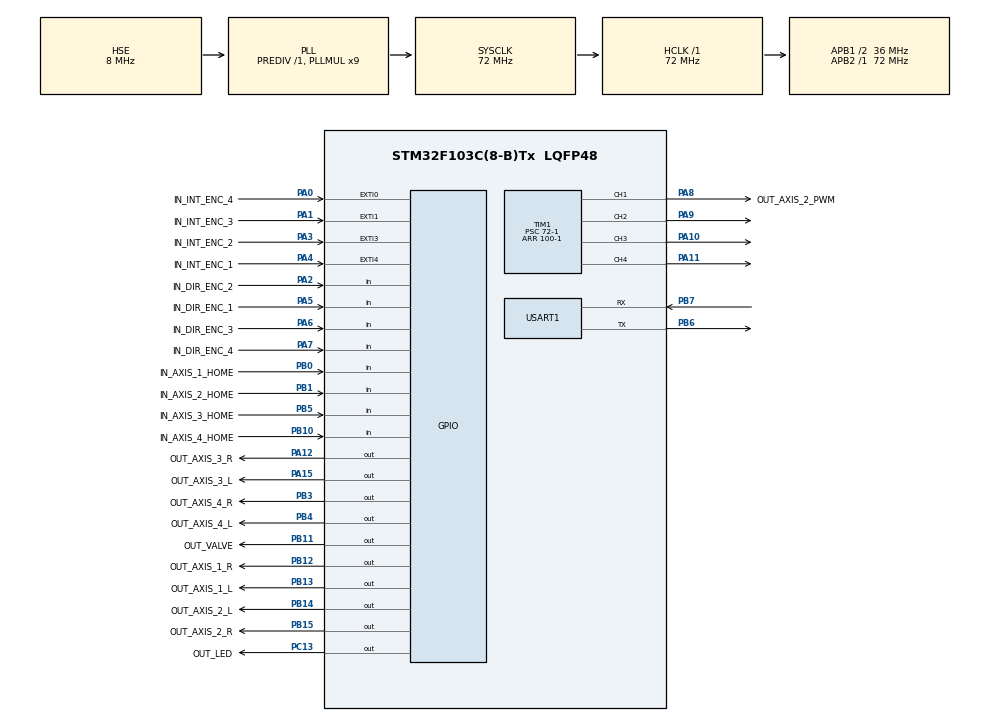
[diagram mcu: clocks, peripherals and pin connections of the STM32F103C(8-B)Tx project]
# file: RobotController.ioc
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Mcu.Family=STM32F1
Mcu.Name=STM32F103C(8-B)Tx
Mcu.Package=LQFP48
NVIC.EXTI0_IRQn=true\:0\:0\:false\:false\:true\:true\:false
NVIC.EXTI1_IRQn=true\:1\:0\:true\:false\:true\:true\:false
NVIC.EXTI3_IRQn=true\:2\:0\:true\:false\:true\:true\:false
NVIC.EXTI4_IRQn=true\:3\:0\:true\:false\:true\:true\:false
NVIC.PVD_IRQn=true\:0\:0\:false\:false\:true\:true\:true
NVIC.PriorityGroup=NVIC_PRIORITYGROUP_3
NVIC.TIM2_IRQn=true\:4\:1\:true\:false\:true\:true\:false
PA0-WKUP.GPIO_Label=IN_INT_ENC_4
PA0-WKUP.GPIO_ModeDefaultEXTI=GPIO_MODE_IT_FALLING
PA0-WKUP.Signal=GPXTI0
PA1.GPIO_Label=IN_INT_ENC_3
PA1.GPIO_ModeDefaultEXTI=GPIO_MODE_IT_FALLING
PA1.GPIO_PuPd=GPIO_NOPULL
PA1.Signal=GPXTI1
PA10.Signal=S_TIM1_CH3
PA11.Signal=S_TIM1_CH4
PA12.GPIO_Label=OUT_AXIS_3_R
PA12.Signal=GPIO_Output
PA13.Mode=Serial_Wire
PA13.Signal=SYS_JTMS-SWDIO
PA14.Mode=Serial_Wire
PA14.Signal=SYS_JTCK-SWCLK
PA15.GPIO_Label=OUT_AXIS_3_L
PA15.Signal=GPIO_Output
PA2.GPIO_Label=IN_DIR_ENC_2
PA2.Signal=GPIO_Input
PA3.GPIO_Label=IN_INT_ENC_2
PA3.Signal=GPXTI3
PA4.GPIO_Label=IN_INT_ENC_1
PA4.Signal=GPXTI4
PA5.GPIO_Label=IN_DIR_ENC_1
PA5.Signal=GPIO_Input
PA6.GPIO_Label=IN_DIR_ENC_3
PA6.Signal=GPIO_Input
PA7.GPIO_Label=IN_DIR_ENC_4
PA7.Signal=GPIO_Input
PA8.GPIO_Label=OUT_AXIS_2_PWM
PA8.Signal=S_TIM1_CH1
PA9.Signal=S_TIM1_CH2
PB0.GPIO_Label=IN_AXIS_1_HOME
PB0.Signal=GPIO_Input
PB1.GPIO_Label=IN_AXIS_2_HOME
PB1.Signal=GPIO_Input
PB10.GPIO_Label=IN_AXIS_4_HOME
PB10.Signal=GPIO_Input
PB11.GPIO_Label=OUT_VALVE
PB11.GPIO_ModeDefaultOutputPP=GPIO_MODE_OUTPUT_OD
PB11.Signal=GPIO_Output
PB12.GPIO_Label=OUT_AXIS_1_R
PB12.Signal=GPIO_Output
PB13.GPIO_Label=OUT_AXIS_1_L
PB13.Signal=GPIO_Output
PB14.GPIO_Label=OUT_AXIS_2_L
PB14.Signal=GPIO_Output
PB15.GPIO_Label=OUT_AXIS_2_R
PB15.Signal=GPIO_Output
PB3.GPIO_Label=OUT_AXIS_4_R
PB3.Signal=GPIO_Output
PB4.GPIO_Label=OUT_AXIS_4_L
PB4.Signal=GPIO_Output
PB5.GPIO_Label=IN_AXIS_3_HOME
PB5.Signal=GPIO_Input
PB6.Mode=Asynchronous
PB6.Signal=USART1_TX
PB7.Mode=Asynchronous
PB7.Signal=USART1_RX
PC13-TAMPER-RTC.GPIO_Label=OUT_LED
PC13-TAMPER-RTC.PinState=GPIO_PIN_SET
PC13-TAMPER-RTC.Signal=GPIO_Output
PC14-OSC32_IN.Mode=LSE-External-Oscillator
PC14-OSC32_IN.Signal=RCC_OSC32_IN
PC15-OSC32_OUT.Mode=LSE-External-Oscillator
PC15-OSC32_OUT.Signal=RCC_OSC32_OUT
PD0-OSC_IN.Mode=HSE-External-Oscillator
PD0-OSC_IN.Signal=RCC_OSC_IN
PD1-OSC_OUT.Mode=HSE-External-Oscillator
PD1-OSC_OUT.Signal=RCC_OSC_OUT
ProjectManager.HeapSize=0x200
ProjectManager.StackSize=0x400
ProjectManager.TargetToolchain=STM32CubeIDE
RCC.AHBFreq_Value=72000000
RCC.APB1CLKDivider=RCC_HCLK_DIV2
RCC.APB1Freq_Value=36000000
RCC.APB1TimFreq_Value=72000000
RCC.APB2Freq_Value=72000000
RCC.APB2TimFreq_Value=72000000
RCC.HCLKFreq_Value=72000000
RCC.PLLMUL=RCC_PLL_MUL9
RCC.PLLSourceVirtual=RCC_PLLSOURCE_HSE
RCC.SYSCLKFreq_VALUE=72000000
RCC.SYSCLKSource=RCC_SYSCLKSOURCE_PLLCLK
RCC.USBFreq_Value=72000000
SH.S_TIM1_CH1.0=TIM1_CH1,PWM Generation1 CH1
SH.S_TIM1_CH2.0=TIM1_CH2,PWM Generation2 CH2
SH.S_TIM1_CH3.0=TIM1_CH3,PWM Generation3 CH3
SH.S_TIM1_CH4.0=TIM1_CH4,PWM Generation4 CH4
TIM1.Channel-PWM\ Generation1\ CH1=TIM_CHANNEL_1
TIM1.Channel-PWM\ Generation2\ CH2=TIM_CHANNEL_2
TIM1.Channel-PWM\ Generation3\ CH3=TIM_CHANNEL_3
TIM1.Channel-PWM\ Generation4\ CH4=TIM_CHANNEL_4
TIM1.Period=100-1
TIM1.Prescaler=72-1
TIM2.AutoReloadPreload=TIM_AUTORELOAD_PRELOAD_DISABLE
TIM2.Period=50-1
TIM2.Prescaler=36000-1
USART1.VirtualMode=VM_ASYNC
VP_TIM1_VS_ClockSourceINT.Mode=Internal
VP_TIM2_VS_ClockSourceINT.Mode=Internal
board=custom

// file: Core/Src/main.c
/* USER CODE BEGIN Header */
/**
 ******************************************************************************
 * @file           : main.c
 * @brief          : Main program body
 ******************************************************************************
 * @attention
 *
 * <h2><center>&copy; Copyright (c) 2022 STMicroelectronics.
 * All rights reserved.</center></h2>
 *
 * This software component is licensed by ST under BSD 3-Clause license,
 * the "License"; You may not use this file except in compliance with the
 * License. You may obtain a copy of the License at:
 *                        opensource.org/licenses/BSD-3-Clause
 *
 ******************************************************************************
 */
/* USER CODE END Header */
#include "main.h"

/* USER CODE BEGIN Includes */
#include "RobotFunctions.h"
#include "PID.h"

/* USER CODE END Includes */

TIM_HandleTypeDef htim1;
TIM_HandleTypeDef htim2;

UART_HandleTypeDef huart1;

void SystemClock_Config(void);
static void MX_GPIO_Init(void);
static void MX_TIM1_Init(void);
static void MX_USART1_UART_Init(void);
static void MX_TIM2_Init(void);

int main(void)
{

  /* MCU Configuration--------------------------------------------------------*/

  /* Reset of all peripherals, Initializes the Flash interface and the Systick. */
  HAL_Init();

  /* Configure the system clock */
  SystemClock_Config();

  /* Initialize all configured peripherals */
  MX_GPIO_Init();
  MX_TIM1_Init();
  MX_USART1_UART_Init();
  MX_TIM2_Init();
  /* USER CODE BEGIN 2 */

	HAL_TIM_PWM_Start(&htim1, TIM_CHANNEL_1);
	HAL_TIM_PWM_Start(&htim1, TIM_CHANNEL_2);
	HAL_TIM_PWM_Start(&htim1, TIM_CHANNEL_3);
	HAL_TIM_PWM_Start(&htim1, TIM_CHANNEL_4);
	HAL_TIM_Base_Start_IT(&htim2);

  /* USER CODE END 2 */

  /* Infinite loop */
  /* USER CODE BEGIN WHILE */

	// Registers declarations and/or initializations
	TIM1->CCR1 = 0;
	TIM1->CCR2 = 0;
	TIM1->CCR3 = 0;
	TIM1->CCR4 = 0;

	// H bridge config initialization
	BTS2960 hBridge1, hBridge2, hBridge3, hBridge4;

	// PA8 (CCR1) = M2
	InitBTS2960(&hBridge2, &TIM1->CCR1, OUT_AXIS_2_L_GPIO_Port, OUT_AXIS_2_L_Pin,
				OUT_AXIS_2_R_GPIO_Port, OUT_AXIS_2_R_Pin);

	// PA9 (CCR2) = M1
	InitBTS2960(&hBridge1, &TIM1->CCR2, OUT_AXIS_1_L_GPIO_Port, OUT_AXIS_1_L_Pin,
				OUT_AXIS_1_R_GPIO_Port, OUT_AXIS_1_R_Pin);

	// PA10 (CCR3) = M3
	InitBTS2960(&hBridge3, &TIM1->CCR3, OUT_AXIS_3_L_GPIO_Port, OUT_AXIS_3_L_Pin,
				OUT_AXIS_3_R_GPIO_Port, OUT_AXIS_3_R_Pin);

	// PA11 (CCR4) = M4
	InitBTS2960(&hBridge4, &TIM1->CCR4, OUT_AXIS_4_L_GPIO_Port, OUT_AXIS_4_L_Pin,
				OUT_AXIS_4_R_GPIO_Port, OUT_AXIS_4_R_Pin);

	Axis Axis1 = {.shield = hBridge1,
				  .HomePort = IN_AXIS_1_HOME_GPIO_Port,
				  .HomePin = IN_AXIS_1_HOME_Pin,
				  .pidPos   =  {.kp = 1.0, // 0.70
				  		       .ki = 0.00,  // 0.65
				  		       .kd = 0.00,  // 0.30
				  	           .minNormilized = 0,
				  		       .maxNormilized = 1000,
				  		       .minProcessVariable = 0,
				  	           .maxProcessVariable = 60000,
				  		       .minControl = -1000,
				  		       .maxControl = 1000,
							   .error = 0,
				  		       .P_error = 0,
				  		       .I_error = 0,
				  		       .D_error = 0,
				  		       .lastSensedOutput = 0,
				  		       .timeStamp = 0},
				  .pidSpeed = {.kp = 0.7,
				    		   .ki = 0.7,
							   .kd = 0.00,
							   .minNormilized = 0,
							   .maxNormilized = 1000,
							   .minProcessVariable = -32000,
							   .maxProcessVariable = 32000,
							   .minControl = -1000,
							   .maxControl = 1000,
							   .error = 0,
							   .P_error = 0,
							   .I_error = 0,
							   .D_error = 0,
							   .lastSensedOutput = 0,
							   .timeStamp = 0},
				  .speed = &enc_1_speed,
				  .position = &enc_1,
				  .firstMove = COUNTERCLOCKWISE,
				  .minSpeed = 60};

	Axis Axis2 = {.shield = hBridge2,
			  	  .HomePort = IN_AXIS_2_HOME_GPIO_Port,
				  .HomePin = IN_AXIS_2_HOME_Pin,
				  .pidPos  =  {.kp = 0.80, // 5 (1) |
				  			   .ki = 0.00,
				  			   .kd = 0.00,
				  			   .minNormilized = 0,
				  			   .maxNormilized = 1000,
				  			   .minProcessVariable = 0,
				  			   .maxProcessVariable = 50000,
				  			   .minControl = -1000,
				  			   .maxControl = 1000,
				  			   .error = 0,
				  			   .P_error = 0,
				  			   .I_error = 0,
				  			   .D_error = 0,
				  			   .lastSensedOutput = 0,
				  			   .timeStamp = 0},
				  .pidSpeed = {.kp = 1.5, //
				  			   .ki = 0.60, // 0.625
				  			   .kd = 0.00,
				  			   .minNormilized = 0,
				  			   .maxNormilized = 1000,
				  			   .minProcessVariable = -32000,
				  			   .maxProcessVariable = 32000,
				  			   .minControl = -1000,
				  			   .maxControl = 1000,
				  			   .error = 0,
				  			   .P_error = 0,
				  			   .I_error = 0,
				  			   .D_error = 0,
				  			   .lastSensedOutput = 0,
				  			   .timeStamp = 0},
				  .speed = &enc_2_speed,
				  .position = &enc_2,
				  .firstMove = CLOCKWISE,
				  .minSpeed = 60};

	Axis Axis3 = {.shield = hBridge3,
			  	  .HomePort = IN_AXIS_3_HOME_GPIO_Port,
				  .HomePin = IN_AXIS_3_HOME_Pin,
				  .pidPos  =  {.kp = 0.25, // 0.70
  				  			   .ki = 0.00,  // 0.65
  				  			   .kd = 0.00,  // 0.30
  				  			   .minNormilized = 0,
  				  			   .maxNormilized = 1000,
  				  			   .minProcessVariable = 0,
  				  			   .maxProcessVariable = 20000,
  				  			   .minControl = -1000,
  				  			   .maxControl = 1000,
  				  			   .error = 0,
  				  			   .P_error = 0,
  				  			   .I_error = 0,
  				  			   .D_error = 0,
  				  			   .lastSensedOutput = 0,
  				  			   .timeStamp = 0},
				  .pidSpeed = {.kp = 2.8,
				  			   .ki = 0.45,
				  			   .kd = 0.0,
				  			   .minNormilized = 0,
				  			   .maxNormilized = 1000,
				  			   .minProcessVariable = -49000,
				  			   .maxProcessVariable = 49000,
				  			   .minControl = -1000,
				  			   .maxControl = 1000,
				  			   .error = 0,
				  			   .P_error = 0,
				  			   .I_error = 0,
				  			   .D_error = 0,
				  			   .lastSensedOutput = 0,
				  			   .timeStamp = 0},
				  .speed = &enc_3_speed,
				  .position = &enc_3,
				  .firstMove = CLOCKWISE,
				  .minSpeed = 70};

	Axis Axis4 = {.shield = hBridge4,
			      .HomePort = IN_AXIS_4_HOME_GPIO_Port,
				  .HomePin = IN_AXIS_4_HOME_Pin,
				  .pidPos  =  {.kp = 1.0,
  				  			   .ki = 0.00,
  				  			   .kd = 0.00,
  				  			   .minNormilized = 0,
  				  			   .maxNormilized = 1000,
  				  			   .minProcessVariable = 0,
  				  			   .maxProcessVariable = 10000,
  				  			   .minControl = -1000,
  				  			   .maxControl = 1000,
  				  			   .error = 0,
  				  			   .P_error = 0,
  				  			   .I_error = 0,
  				  			   .D_error = 0,
  				  			   .lastSensedOutput = 0,
  				  			   .timeStamp = 0},
				  .pidSpeed = {.kp = 0.75,
				  			   .ki = 0.625,
				  			   .kd = 0.00,
				  			   .minNormilized = 0,
				  			   .maxNormilized = 1000,
				  			   .minProcessVariable = -32000,
				  			   .maxProcessVariable = 32000,
				  			   .minControl = -1000,
				  			   .maxControl = 1000,
				  			   .error = 0,
				  			   .P_error = 0,
				  			   .I_error = 0,
				  			   .D_error = 0,
				  			   .lastSensedOutput = 0,
				  			   .timeStamp = 0},
				  .speed = &enc_4_speed,
				  .position = &enc_4,
				  .firstMove = COUNTERCLOCKWISE,
				  .minSpeed = 65};

	FindHomePosition(Axis3);
	FindHomePosition(Axis2);
	FindHomePosition(Axis1);
	FindHomePosition(Axis4);

	HAL_GPIO_TogglePin(OUT_VALVE_GPIO_Port, OUT_VALVE_Pin);

	//Axis1: Max: 60000 | Axis2: Max: 50000 | Axis 3: Max: 20000 | Axis4: 10000
	SetPoint RobotSetPoint = {30000, 50000, 6000, 10000};

	//SetOutputBTS2960(Axis4.shield, 70, COUNTERCLOCKWISE);

int state = 1;

	while (1) {
		//HAL_GPIO_TogglePin(OUT_VALVE_GPIO_Port, OUT_VALVE_Pin);

		PrintPosition();

		if (state == 1){
			MoveToPositionPID(&Axis1, 12896);
			if (ErrorIsZero(&Axis1, 50)){
				state = 2;
			}
		}
		if (state == 2){
			MoveToPositionPID(&Axis2, 9684);
			if (ErrorIsZero(&Axis2, 50)){
				state = 3;
			}
		}
		if (state == 3){
			MoveToPositionPID(&Axis3, 5000);
			if (ErrorIsZero(&Axis3, 1000)){
				state = 4;
			}
		}

		if (state == 4){
			MoveToPositionPID(&Axis4, 1500);
			if (ErrorIsZero(&Axis4, 15)){
				state = 6;
				HAL_GPIO_TogglePin(OUT_VALVE_GPIO_Port, OUT_VALVE_Pin);
				HAL_Delay(1000);
			}
		}
		if (state == 5){
			MoveToPositionPID(&Axis3, 500);
				if (ErrorIsZero(&Axis3, 50)){
					state = 6;
				}
		}
		if (state == 6){
					MoveToPositionPID(&Axis1, 44045);
					if (ErrorIsZero(&Axis1, 50)){
						state = 7;
					}
				}

		if (state == 7){
					MoveToPositionPID(&Axis3, 18000);
					if (ErrorIsZero(&Axis3, 2500)){
						state = 8;
					}
				}
		if (state == 8){
			HAL_GPIO_TogglePin(OUT_VALVE_GPIO_Port, OUT_VALVE_Pin);
			state = 9;
		}

		//MoveToPosition(Axis4, 20000);

	//SetOutputBTS2960(Axis4.shield, 80,COUNTERCLOCKWISE);

		//HAL_GPIO_TogglePin(OUT_LED_GPIO_Port, OUT_LED_Pin);

    /* USER CODE END WHILE */

	}
}

void SystemClock_Config(void)
{
  RCC_OscInitTypeDef RCC_OscInitStruct = {0};
  RCC_ClkInitTypeDef RCC_ClkInitStruct = {0};

  /** Initializes the RCC Oscillators according to the specified parameters
  * in the RCC_OscInitTypeDef structure.
  */
  RCC_OscInitStruct.OscillatorType = RCC_OSCILLATORTYPE_HSE;
  RCC_OscInitStruct.HSEState = RCC_HSE_ON;
  RCC_OscInitStruct.HSEPredivValue = RCC_HSE_PREDIV_DIV1;
  RCC_OscInitStruct.HSIState = RCC_HSI_ON;
  RCC_OscInitStruct.PLL.PLLState = RCC_PLL_ON;
  RCC_OscInitStruct.PLL.PLLSource = RCC_PLLSOURCE_HSE;
  RCC_OscInitStruct.PLL.PLLMUL = RCC_PLL_MUL9;
  if (HAL_RCC_OscConfig(&RCC_OscInitStruct) != HAL_OK)
  {
    Error_Handler();
  }
  /** Initializes the CPU, AHB and APB buses clocks
  */
  RCC_ClkInitStruct.ClockType = RCC_CLOCKTYPE_HCLK|RCC_CLOCKTYPE_SYSCLK
                              |RCC_CLOCKTYPE_PCLK1|RCC_CLOCKTYPE_PCLK2;
  RCC_ClkInitStruct.SYSCLKSource = RCC_SYSCLKSOURCE_PLLCLK;
  RCC_ClkInitStruct.AHBCLKDivider = RCC_SYSCLK_DIV1;
  RCC_ClkInitStruct.APB1CLKDivider = RCC_HCLK_DIV2;
  RCC_ClkInitStruct.APB2CLKDivider = RCC_HCLK_DIV1;

  if (HAL_RCC_ClockConfig(&RCC_ClkInitStruct, FLASH_LATENCY_2) != HAL_OK)
  {
    Error_Handler();
  }
}

static void MX_TIM1_Init(void)
{

  TIM_ClockConfigTypeDef sClockSourceConfig = {0};
  TIM_MasterConfigTypeDef sMasterConfig = {0};
  TIM_OC_InitTypeDef sConfigOC = {0};
  TIM_BreakDeadTimeConfigTypeDef sBreakDeadTimeConfig = {0};

  htim1.Instance = TIM1;
  htim1.Init.Prescaler = 72-1;
  htim1.Init.CounterMode = TIM_COUNTERMODE_UP;
  htim1.Init.Period = 100-1;
  htim1.Init.ClockDivision = TIM_CLOCKDIVISION_DIV1;
  htim1.Init.RepetitionCounter = 0;
  htim1.Init.AutoReloadPreload = TIM_AUTORELOAD_PRELOAD_DISABLE;
  if (HAL_TIM_Base_Init(&htim1) != HAL_OK)
  {
    Error_Handler();
  }
  sClockSourceConfig.ClockSource = TIM_CLOCKSOURCE_INTERNAL;
  if (HAL_TIM_ConfigClockSource(&htim1, &sClockSourceConfig) != HAL_OK)
  {
    Error_Handler();
  }
  if (HAL_TIM_PWM_Init(&htim1) != HAL_OK)
  {
    Error_Handler();
  }
  sMasterConfig.MasterOutputTrigger = TIM_TRGO_RESET;
  sMasterConfig.MasterSlaveMode = TIM_MASTERSLAVEMODE_DISABLE;
  if (HAL_TIMEx_MasterConfigSynchronization(&htim1, &sMasterConfig) != HAL_OK)
  {
    Error_Handler();
  }
  sConfigOC.OCMode = TIM_OCMODE_PWM1;
  sConfigOC.Pulse = 0;
  sConfigOC.OCPolarity = TIM_OCPOLARITY_HIGH;
  sConfigOC.OCNPolarity = TIM_OCNPOLARITY_HIGH;
  sConfigOC.OCFastMode = TIM_OCFAST_DISABLE;
  sConfigOC.OCIdleState = TIM_OCIDLESTATE_RESET;
  sConfigOC.OCNIdleState = TIM_OCNIDLESTATE_RESET;
  if (HAL_TIM_PWM_ConfigChannel(&htim1, &sConfigOC, TIM_CHANNEL_1) != HAL_OK)
  {
    Error_Handler();
  }
  if (HAL_TIM_PWM_ConfigChannel(&htim1, &sConfigOC, TIM_CHANNEL_2) != HAL_OK)
  {
    Error_Handler();
  }
  if (HAL_TIM_PWM_ConfigChannel(&htim1, &sConfigOC, TIM_CHANNEL_3) != HAL_OK)
  {
    Error_Handler();
  }
  if (HAL_TIM_PWM_ConfigChannel(&htim1, &sConfigOC, TIM_CHANNEL_4) != HAL_OK)
  {
    Error_Handler();
  }
  sBreakDeadTimeConfig.OffStateRunMode = TIM_OSSR_DISABLE;
  sBreakDeadTimeConfig.OffStateIDLEMode = TIM_OSSI_DISABLE;
  sBreakDeadTimeConfig.LockLevel = TIM_LOCKLEVEL_OFF;
  sBreakDeadTimeConfig.DeadTime = 0;
  sBreakDeadTimeConfig.BreakState = TIM_BREAK_DISABLE;
  sBreakDeadTimeConfig.BreakPolarity = TIM_BREAKPOLARITY_HIGH;
  sBreakDeadTimeConfig.AutomaticOutput = TIM_AUTOMATICOUTPUT_DISABLE;
  if (HAL_TIMEx_ConfigBreakDeadTime(&htim1, &sBreakDeadTimeConfig) != HAL_OK)
  {
    Error_Handler();
  }
  HAL_TIM_MspPostInit(&htim1);

}

static void MX_TIM2_Init(void)
{

  TIM_ClockConfigTypeDef sClockSourceConfig = {0};
  TIM_MasterConfigTypeDef sMasterConfig = {0};

  htim2.Instance = TIM2;
  htim2.Init.Prescaler = 36000-1;
  htim2.Init.CounterMode = TIM_COUNTERMODE_UP;
  htim2.Init.Period = 50-1;
  htim2.Init.ClockDivision = TIM_CLOCKDIVISION_DIV1;
  htim2.Init.AutoReloadPreload = TIM_AUTORELOAD_PRELOAD_DISABLE;
  if (HAL_TIM_Base_Init(&htim2) != HAL_OK)
  {
    Error_Handler();
  }
  sClockSourceConfig.ClockSource = TIM_CLOCKSOURCE_INTERNAL;
  if (HAL_TIM_ConfigClockSource(&htim2, &sClockSourceConfig) != HAL_OK)
  {
    Error_Handler();
  }
  sMasterConfig.MasterOutputTrigger = TIM_TRGO_RESET;
  sMasterConfig.MasterSlaveMode = TIM_MASTERSLAVEMODE_DISABLE;
  if (HAL_TIMEx_MasterConfigSynchronization(&htim2, &sMasterConfig) != HAL_OK)
  {
    Error_Handler();
  }

}

static void MX_USART1_UART_Init(void)
{

  huart1.Instance = USART1;
  huart1.Init.BaudRate = 115200;
  huart1.Init.WordLength = UART_WORDLENGTH_8B;
  huart1.Init.StopBits = UART_STOPBITS_1;
  huart1.Init.Parity = UART_PARITY_NONE;
  huart1.Init.Mode = UART_MODE_TX_RX;
  huart1.Init.HwFlowCtl = UART_HWCONTROL_NONE;
  huart1.Init.OverSampling = UART_OVERSAMPLING_16;
  if (HAL_UART_Init(&huart1) != HAL_OK)
  {
    Error_Handler();
  }

}

static void MX_GPIO_Init(void)
{
  GPIO_InitTypeDef GPIO_InitStruct = {0};

  /* GPIO Ports Clock Enable */
  __HAL_RCC_GPIOC_CLK_ENABLE();
  __HAL_RCC_GPIOD_CLK_ENABLE();
  __HAL_RCC_GPIOA_CLK_ENABLE();
  __HAL_RCC_GPIOB_CLK_ENABLE();

  /*Configure GPIO pin Output Level */
  HAL_GPIO_WritePin(OUT_LED_GPIO_Port, OUT_LED_Pin, GPIO_PIN_SET);

  /*Configure GPIO pin Output Level */
  HAL_GPIO_WritePin(GPIOB, OUT_VALVE_Pin|OUT_AXIS_1_R_Pin|OUT_AXIS_1_L_Pin|OUT_AXIS_2_L_Pin
                          |OUT_AXIS_2_R_Pin|OUT_AXIS_4_R_Pin|OUT_AXIS_4_L_Pin, GPIO_PIN_RESET);

  /*Configure GPIO pin Output Level */
  HAL_GPIO_WritePin(GPIOA, OUT_AXIS_3_R_Pin|OUT_AXIS_3_L_Pin, GPIO_PIN_RESET);

  /*Configure GPIO pin : OUT_LED_Pin */
  GPIO_InitStruct.Pin = OUT_LED_Pin;
  GPIO_InitStruct.Mode = GPIO_MODE_OUTPUT_PP;
  GPIO_InitStruct.Pull = GPIO_NOPULL;
  GPIO_InitStruct.Speed = GPIO_SPEED_FREQ_LOW;
  HAL_GPIO_Init(OUT_LED_GPIO_Port, &GPIO_InitStruct);

  /*Configure GPIO pins : IN_INT_ENC_4_Pin IN_INT_ENC_3_Pin */
  GPIO_InitStruct.Pin = IN_INT_ENC_4_Pin|IN_INT_ENC_3_Pin;
  GPIO_InitStruct.Mode = GPIO_MODE_IT_FALLING;
  GPIO_InitStruct.Pull = GPIO_NOPULL;
  HAL_GPIO_Init(GPIOA, &GPIO_InitStruct);

  /*Configure GPIO pins : IN_DIR_ENC_2_Pin IN_DIR_ENC_1_Pin IN_DIR_ENC_3_Pin IN_DIR_ENC_4_Pin */
  GPIO_InitStruct.Pin = IN_DIR_ENC_2_Pin|IN_DIR_ENC_1_Pin|IN_DIR_ENC_3_Pin|IN_DIR_ENC_4_Pin;
  GPIO_InitStruct.Mode = GPIO_MODE_INPUT;
  GPIO_InitStruct.Pull = GPIO_NOPULL;
  HAL_GPIO_Init(GPIOA, &GPIO_InitStruct);

  /*Configure GPIO pins : IN_INT_ENC_2_Pin IN_INT_ENC_1_Pin */
  GPIO_InitStruct.Pin = IN_INT_ENC_2_Pin|IN_INT_ENC_1_Pin;
  GPIO_InitStruct.Mode = GPIO_MODE_IT_RISING;
  GPIO_InitStruct.Pull = GPIO_NOPULL;
  HAL_GPIO_Init(GPIOA, &GPIO_InitStruct);

  /*Configure GPIO pins : IN_AXIS_1_HOME_Pin IN_AXIS_2_HOME_Pin IN_AXIS_4_HOME_Pin IN_AXIS_3_HOME_Pin */
  GPIO_InitStruct.Pin = IN_AXIS_1_HOME_Pin|IN_AXIS_2_HOME_Pin|IN_AXIS_4_HOME_Pin|IN_AXIS_3_HOME_Pin;
  GPIO_InitStruct.Mode = GPIO_MODE_INPUT;
  GPIO_InitStruct.Pull = GPIO_NOPULL;
  HAL_GPIO_Init(GPIOB, &GPIO_InitStruct);

  /*Configure GPIO pin : OUT_VALVE_Pin */
  GPIO_InitStruct.Pin = OUT_VALVE_Pin;
  GPIO_InitStruct.Mode = GPIO_MODE_OUTPUT_OD;
  GPIO_InitStruct.Pull = GPIO_NOPULL;
  GPIO_InitStruct.Speed = GPIO_SPEED_FREQ_LOW;
  HAL_GPIO_Init(OUT_VALVE_GPIO_Port, &GPIO_InitStruct);

  /*Configure GPIO pins : OUT_AXIS_1_R_Pin OUT_AXIS_1_L_Pin OUT_AXIS_2_L_Pin OUT_AXIS_2_R_Pin
                           OUT_AXIS_4_R_Pin OUT_AXIS_4_L_Pin */
  GPIO_InitStruct.Pin = OUT_AXIS_1_R_Pin|OUT_AXIS_1_L_Pin|OUT_AXIS_2_L_Pin|OUT_AXIS_2_R_Pin
                          |OUT_AXIS_4_R_Pin|OUT_AXIS_4_L_Pin;
  GPIO_InitStruct.Mode = GPIO_MODE_OUTPUT_PP;
  GPIO_InitStruct.Pull = GPIO_NOPULL;
  GPIO_InitStruct.Speed = GPIO_SPEED_FREQ_LOW;
  HAL_GPIO_Init(GPIOB, &GPIO_InitStruct);

  /*Configure GPIO pins : OUT_AXIS_3_R_Pin OUT_AXIS_3_L_Pin */
  GPIO_InitStruct.Pin = OUT_AXIS_3_R_Pin|OUT_AXIS_3_L_Pin;
  GPIO_InitStruct.Mode = GPIO_MODE_OUTPUT_PP;
  GPIO_InitStruct.Pull = GPIO_NOPULL;
  GPIO_InitStruct.Speed = GPIO_SPEED_FREQ_LOW;
  HAL_GPIO_Init(GPIOA, &GPIO_InitStruct);

  /* EXTI interrupt init*/
  HAL_NVIC_SetPriority(EXTI0_IRQn, 0, 0);
  HAL_NVIC_EnableIRQ(EXTI0_IRQn);

  HAL_NVIC_SetPriority(EXTI1_IRQn, 1, 0);
  HAL_NVIC_EnableIRQ(EXTI1_IRQn);

  HAL_NVIC_SetPriority(EXTI3_IRQn, 2, 0);
  HAL_NVIC_EnableIRQ(EXTI3_IRQn);

  HAL_NVIC_SetPriority(EXTI4_IRQn, 3, 0);
  HAL_NVIC_EnableIRQ(EXTI4_IRQn);

}

void Error_Handler(void)
{
	__disable_irq();
	while (1) {
	}
}

/************************ (C) COPYRIGHT STMicroelectronics *****END OF FILE****/
